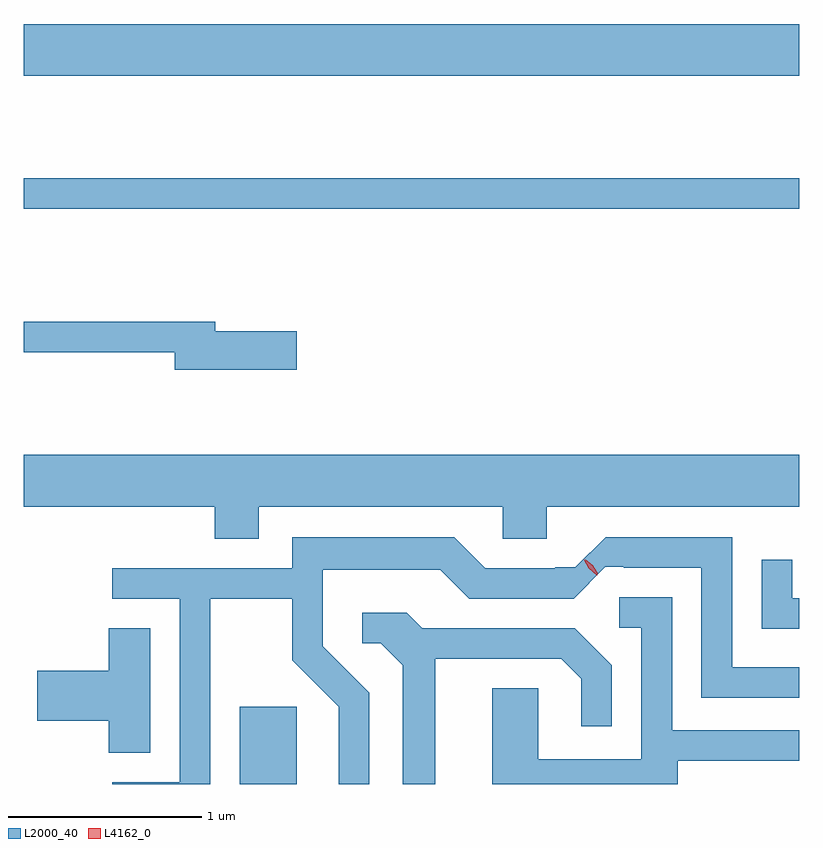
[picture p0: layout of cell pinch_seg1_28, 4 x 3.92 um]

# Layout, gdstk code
import gdstk
lib = gdstk.Library(unit=1e-6, precision=1e-09)
def R(c, l, rs):  # rectangles x0, y0, x1, y1
    for r in rs: c.add(gdstk.rectangle(r[:2], r[2:], *l))
def P(c, l, *ps):  # polygons
    for p in ps: c.add(gdstk.Polygon(p, *l))
L2000_40 = (2000, 40)
L4162_0 = (4162, 0)

pinch_seg1_28 = lib.new_cell('pinch_seg1_28')
R(pinch_seg1_28, L2000_40, [(1098.051,922.566,1098.344,922.964), (1096.936,925.531,1100.936,925.689), (1096.936,926.216,1100.936,926.484)])
P(pinch_seg1_28, L2000_40, [(1098.344,924.899),(1097.924,924.899),(1097.924,924.949),(1096.936,924.949),(1096.936,924.791),(1097.716,924.791),(1097.716,924.701),(1098.344,924.701)],
  [(1098.149,923.996),(1099.406,923.996),(1099.406,923.831),(1099.634,923.831),(1099.634,923.996),(1100.936,923.996),(1100.936,924.264),(1096.936,924.264),(1096.936,923.996),(1097.921,923.996),(1097.921,923.831),(1098.149,923.831)],
  [(1097.899,923.521),(1098.321,923.521),(1098.321,923.204),(1098.561,922.964),(1098.561,922.566),(1098.719,922.566),(1098.719,923.037),(1098.479,923.277),(1098.479,923.671),(1099.084,923.671),(1099.234,923.521),(1099.772,923.521),(1099.936,923.685),(1100.03,923.685),(1100.03,923.681),(1100.431,923.681),(1100.431,923.011),(1100.936,923.011),(1100.936,923.169),(1100.589,923.169),(1100.589,923.839),(1099.937,923.839),(1099.78,923.683),(1099.678,923.683),(1099.678,923.679),(1099.317,923.679),(1099.157,923.839),(1098.321,923.839),(1098.321,923.679),(1097.393,923.679),(1097.393,923.521),(1097.741,923.521),(1097.741,922.574),(1097.393,922.574),(1097.393,922.566),(1097.899,922.566)],
  [(1100.936,923.524),(1100.899,923.524),(1100.899,923.723),(1100.741,923.723),(1100.741,923.366),(1100.936,923.366)],
  [(1100.309,922.686),(1100.936,922.686),(1100.936,922.844),(1100.279,922.844),(1100.279,923.529),(1100.008,923.529),(1100.008,923.371),(1100.121,923.371),(1100.121,922.694),(1099.589,922.694),(1099.589,923.059),(1099.351,923.059),(1099.351,922.566),(1100.309,922.566)],
  [(1099.059,923.211),(1099.709,923.211),(1099.811,923.109),(1099.811,922.863),(1099.969,922.863),(1099.969,923.177),(1099.777,923.369),(1098.992,923.369),(1098.912,923.449),(1098.683,923.449),(1098.683,923.291),(1098.777,923.291),(1098.891,923.177),(1098.891,922.566),(1099.059,922.566)],
  [(1097.589,923.369),(1097.376,923.369),(1097.376,923.149),(1097.006,923.149),(1097.006,922.891),(1097.376,922.891),(1097.376,922.726),(1097.589,922.726)])
P(pinch_seg1_28, L4162_0, [(1099.892,923.643),(1099.851,923.677),(1099.823,923.724),(1099.823,923.724),(1099.824,923.724),(1099.866,923.69),(1099.893,923.644),(1099.893,923.643)],
  [(1099.894,923.651),(1099.855,923.681),(1099.831,923.724),(1099.831,923.724),(1099.831,923.724),(1099.87,923.694),(1099.895,923.652),(1099.895,923.651)])

lib.write_gds('pinch_seg1_28.gds')
